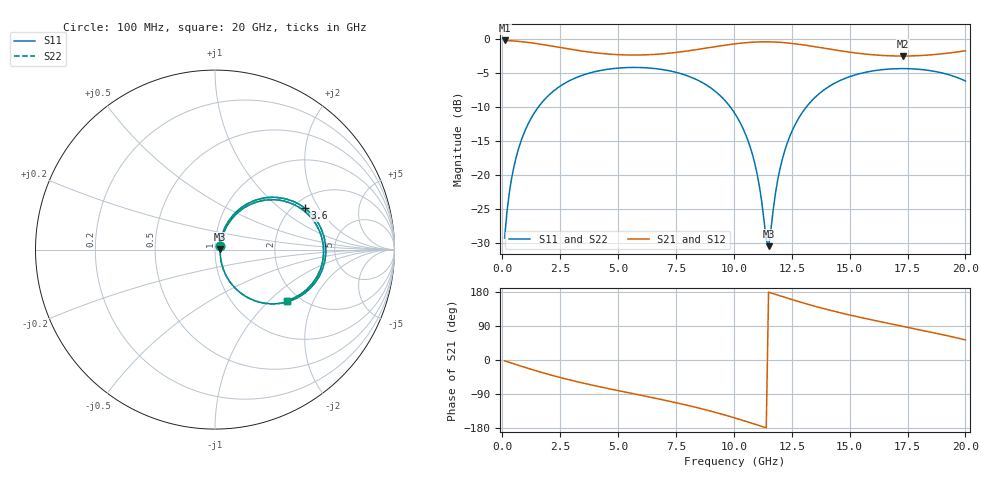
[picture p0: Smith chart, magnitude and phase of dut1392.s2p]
! Touchstone file exported from HFSS 2026.1.0
!  File:  C:/ffzhzh/LocalFiles/Ansys_Project_Files/temp_train_TSV_RDL_1392_1783349982_4416.aedt
!  Generated:  11:19:04 PM Jul  6, 2026
!  Design:  TSV_RDL
!  Project:  temp_train_TSV_RDL_1392_1783349982_4416
! Variables:
!  h_bsmrdl = 2.86um
!  h_ox = 20um
!  h_rdl = 5um
!  h_sub = 53.07um
!  h_tmrdl = 5.09um
!  h_tsv = 53.07um
!  h_via = 3um
!  l_bsmrdl = 801.89um
!  l_sub = 5692.25um
!  l_tmrdl = 688.06um
!  m_sub = 200um
!  pitch = 56.84um
!  r_tsv = 3.9um
!  s_tmrdl = 10um
!  w_bsmrdl = 21.77um
!  w_sub = 500um
!  w_tmrdl = 23.01um
!  x_tsv_center1 = 699.565um
!  x_tsv_center2 = 1523.225um
!  x_tsv_center3 = 2234.295um
!  x_tsv_center4 = 3057.955um
!  x_tsv_center5 = 3769.025um
!  x_tsv_center6 = 4592.685um
# GHz S MA R 50.000000
! Terminal data exported
! Port[1] = TM_RDL1_1_T1
! Port[2] = TM_RDL5_1_T1
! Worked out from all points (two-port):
!   200 points, 100 MHz to 20 GHz, reference 50 ohm
!   highest |S21| = -0.22 dB at 100 MHz (marker M1); lowest = -2.5 dB at 17.3 GHz (marker M2)
!   |S21| within 3 dB of the highest: start of sweep to end of sweep
!   lowest |S11| = -30.5 dB at 11.5 GHz (marker M3), VSWR 1.06, Z = 53.1 + j0.435 ohm
!   |S11| at or under -10 dB: start of sweep to 1.561 GHz; 9.845 GHz to 13.13 GHz (3.287 GHz wide, 28.6 % of centre)
!   |S22| runs from -30.6 to -4.2 dB; largest |S21 - S12| = 1.7e-14
!   S11 on the Smith chart (normalised r, x): 100 MHz: 1.05, +0.05; 3.6 GHz: 2.29, +1.52; 20 GHz: 1.73, -1.29
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0.1  0.03442 40.9  0.9745 -2.1  0.9745 -2.1  0.03442 40.9
! Gamma 0 0 0 0
! Port Impedance 50 0 50 0
0.3  0.07341 62.3  0.9707 -6.2  0.9707 -6.2  0.07341 62.3
0.5  0.1147 65.6  0.9658 -10.2  0.9658 -10.2  0.1147 65.6
1.1  0.2342 61.0  0.9433 -21.8  0.9433 -21.8  0.2342 61.0
2.1  0.3988 46.2  0.8881 -39.7  0.8881 -39.7  0.3988 46.2
3.5  0.5438 26.2  0.8117 -61.1  0.8117 -61.1  0.5438 26.2
3.6  0.5507 24.9  0.8073 -62.5  0.8073 -62.5  0.5507 24.8
5.2  0.6139 4.9  0.7638 -83.3  0.7638 -83.3  0.6139 4.9
6.8  0.5996 -14.2  0.7745 -103.4  0.7745 -103.4  0.5996 -14.3
8.7  0.4714 -39.4  0.8504 -130.1  0.8504 -130.1  0.4714 -39.4
10.1  0.2733 -60.0  0.9225 -154.0  0.9225 -154.0  0.2733 -60.1
10.9  0.1225 -67.0  0.9481 -169.2  0.9481 -169.2  0.1224 -67.3
11.2  0.06436 -59.4  0.9519 -175.1  0.9519 -175.1  0.0641 -59.8
11.4  0.03334 -28.3  0.9525 -179.0  0.9525 -179.0  0.03285 -28.7
11.5  0.02999 7.8  0.9521 179.0  0.9521 179.0  0.02946 8.0
11.8  0.07378 58.2  0.9486 173.1  0.9486 173.1  0.07358 58.6
12.2  0.1512 63.0  0.9385 165.4  0.9385 165.4  0.1511 63.2
13.4  0.3568 48.3  0.8827 143.5  0.8827 143.5  0.3568 48.4
14.8  0.5128 28.6  0.8085 121.6  0.8085 121.6  0.5128 28.6
16.7  0.6006 5.1  0.7519 96.4  0.7519 96.4  0.6006 5.1
17.3  0.6053 -2.0  0.7486 88.9  0.7486 88.9  0.6053 -2.0
20  0.4913 -35.3  0.818 52.9  0.818 52.9  0.4912 -35.3
